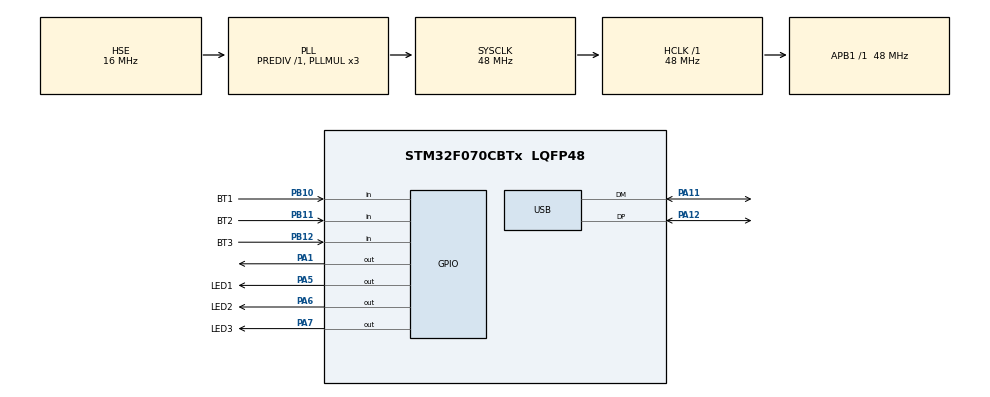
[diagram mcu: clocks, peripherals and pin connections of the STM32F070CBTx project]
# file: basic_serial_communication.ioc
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Mcu.Family=STM32F0
Mcu.Name=STM32F070CBTx
Mcu.Package=LQFP48
NVIC.USB_IRQn=true\:0\:0\:false\:false\:true\:false\:true\:true
PA1.Signal=GPIO_Output
PA11.Mode=Device
PA11.Signal=USB_DM
PA12.Mode=Device
PA12.Signal=USB_DP
PA13.Mode=Serial_Wire
PA13.Signal=SYS_SWDIO
PA14.Mode=Serial_Wire
PA14.Signal=SYS_SWCLK
PA5.GPIO_Label=LED1
PA5.Signal=GPIO_Output
PA6.GPIO_Label=LED2
PA6.Signal=GPIO_Output
PA7.GPIO_Label=LED3
PA7.Signal=GPIO_Output
PB10.GPIO_Label=BT1
PB10.Signal=GPIO_Input
PB11.GPIO_Label=BT2
PB11.Signal=GPIO_Input
PB12.GPIO_Label=BT3
PB12.Signal=GPIO_Input
PF0-OSC_IN.Mode=HSE-External-Oscillator
PF0-OSC_IN.Signal=RCC_OSC_IN
PF1-OSC_OUT.Mode=HSE-External-Oscillator
PF1-OSC_OUT.Signal=RCC_OSC_OUT
ProjectManager.HeapSize=0x200
ProjectManager.StackSize=0x400
ProjectManager.TargetToolchain=STM32CubeIDE
RCC.AHBFreq_Value=48000000
RCC.APB1Freq_Value=48000000
RCC.APB1TimFreq_Value=48000000
RCC.HCLKFreq_Value=48000000
RCC.HSE_VALUE=16000000
RCC.PLLMUL=RCC_PLL_MUL3
RCC.SYSCLKFreq_VALUE=48000000
RCC.SYSCLKSource=RCC_SYSCLKSOURCE_PLLCLK
USB_DEVICE.CLASS_NAME_FS=CDC
USB_DEVICE.VirtualMode=Cdc
USB_DEVICE.VirtualModeFS=Cdc_FS
VP_USB_DEVICE_VS_USB_DEVICE_CDC_FS.Mode=CDC_FS
board=custom

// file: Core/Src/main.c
/* USER CODE BEGIN Header */
/**
  ******************************************************************************
  * @file           : main.c
  * @brief          : Main program body
  ******************************************************************************
  * @attention
  *
  * Copyright (c) 2024 STMicroelectronics.
  * All rights reserved.
  *
  * This software is licensed under terms that can be found in the LICENSE file
  * in the root directory of this software component.
  * If no LICENSE file comes with this software, it is provided AS-IS.
  *
  ******************************************************************************
  */
/* USER CODE END Header */
#include "main.h"
#include "usb_device.h"

/* USER CODE BEGIN Includes */
#include "usbd_cdc_if.h" 	//Used for USB communication
#include "string.h" 		//Used for string formating
#include "ctype.h"			//Used to compare strings
/* USER CODE END Includes */

/* USER CODE BEGIN PV */
uint8_t usbBuf[64]; 			//Rx Buffer
char dataToSend[64]; 			//Tx Buffer
uint8_t dataLength; 			//length of Tx Buffer
char cmdIn[64]; 				//Reading command from Rx Buffer
char current_cmd[64];			//Store Current Command
int bt1, bt2, bt3; 				//Button status
/* USER CODE END PV */

void SystemClock_Config(void);
static void MX_GPIO_Init(void);
/* USER CODE BEGIN PFP */
void readCommand(void);			//Read usb buffer and check if it is a valid command
int checkButton(int button);	//Check button status, returns 1 if pressed, 0 if not pressed
/* USER CODE END PFP */

int main(void)
{

  /* MCU Configuration--------------------------------------------------------*/

  /* Reset of all peripherals, Initializes the Flash interface and the Systick. */
  HAL_Init();

  /* Configure the system clock */
  SystemClock_Config();

  /* Initialize all configured peripherals */
  MX_GPIO_Init();
  MX_USB_DEVICE_Init();
  /* USER CODE BEGIN 2 */
  memset(cmdIn, '\0', 64); 						// initialize buffers
  memset(current_cmd, '\0', 64);
  /* USER CODE END 2 */

  /* Infinite loop */
  /* USER CODE BEGIN WHILE */
  while (1)
  {
	  readCommand(); 							// read command from USB buffer and process
	  HAL_GPIO_TogglePin(GPIOA, GPIO_PIN_1); 	// Blink board LED
	  HAL_Delay(300);							// small delay
    /* USER CODE END WHILE */
  }
}

void SystemClock_Config(void)
{
  RCC_OscInitTypeDef RCC_OscInitStruct = {0};
  RCC_ClkInitTypeDef RCC_ClkInitStruct = {0};
  RCC_PeriphCLKInitTypeDef PeriphClkInit = {0};

  /** Initializes the RCC Oscillators according to the specified parameters
  * in the RCC_OscInitTypeDef structure.
  */
  RCC_OscInitStruct.OscillatorType = RCC_OSCILLATORTYPE_HSE;
  RCC_OscInitStruct.HSEState = RCC_HSE_ON;
  RCC_OscInitStruct.PLL.PLLState = RCC_PLL_ON;
  RCC_OscInitStruct.PLL.PLLSource = RCC_PLLSOURCE_HSE;
  RCC_OscInitStruct.PLL.PLLMUL = RCC_PLL_MUL3;
  RCC_OscInitStruct.PLL.PREDIV = RCC_PREDIV_DIV1;
  if (HAL_RCC_OscConfig(&RCC_OscInitStruct) != HAL_OK)
  {
    Error_Handler();
  }

  /** Initializes the CPU, AHB and APB buses clocks
  */
  RCC_ClkInitStruct.ClockType = RCC_CLOCKTYPE_HCLK|RCC_CLOCKTYPE_SYSCLK
                              |RCC_CLOCKTYPE_PCLK1;
  RCC_ClkInitStruct.SYSCLKSource = RCC_SYSCLKSOURCE_PLLCLK;
  RCC_ClkInitStruct.AHBCLKDivider = RCC_SYSCLK_DIV1;
  RCC_ClkInitStruct.APB1CLKDivider = RCC_HCLK_DIV1;

  if (HAL_RCC_ClockConfig(&RCC_ClkInitStruct, FLASH_LATENCY_1) != HAL_OK)
  {
    Error_Handler();
  }
  PeriphClkInit.PeriphClockSelection = RCC_PERIPHCLK_USB;
  PeriphClkInit.UsbClockSelection = RCC_USBCLKSOURCE_PLL;

  if (HAL_RCCEx_PeriphCLKConfig(&PeriphClkInit) != HAL_OK)
  {
    Error_Handler();
  }
}

static void MX_GPIO_Init(void)
{
  GPIO_InitTypeDef GPIO_InitStruct = {0};

  /* GPIO Ports Clock Enable */
  __HAL_RCC_GPIOF_CLK_ENABLE();
  __HAL_RCC_GPIOA_CLK_ENABLE();
  __HAL_RCC_GPIOB_CLK_ENABLE();

  /*Configure GPIO pin Output Level */
  HAL_GPIO_WritePin(GPIOA, GPIO_PIN_1|LED1_Pin|LED2_Pin|LED3_Pin, GPIO_PIN_RESET);

  /*Configure GPIO pins : PA1 LED1_Pin LED2_Pin LED3_Pin */
  GPIO_InitStruct.Pin = GPIO_PIN_1|LED1_Pin|LED2_Pin|LED3_Pin;
  GPIO_InitStruct.Mode = GPIO_MODE_OUTPUT_PP;
  GPIO_InitStruct.Pull = GPIO_NOPULL;
  GPIO_InitStruct.Speed = GPIO_SPEED_FREQ_LOW;
  HAL_GPIO_Init(GPIOA, &GPIO_InitStruct);

  /*Configure GPIO pins : BT1_Pin BT2_Pin BT3_Pin */
  GPIO_InitStruct.Pin = BT1_Pin|BT2_Pin|BT3_Pin;
  GPIO_InitStruct.Mode = GPIO_MODE_INPUT;
  GPIO_InitStruct.Pull = GPIO_NOPULL;
  HAL_GPIO_Init(GPIOB, &GPIO_InitStruct);

}

/* USER CODE BEGIN 4 */
void readCommand()
{

	char cmd_led1[] = "led1",														//Setting valid command arguments
		 cmd_led2[] = "led2",
		 cmd_led3[] = "led3",
		 cmd_all_leds[] = "all leds",
		 cmd_bt1[] = "button1",
		 cmd_bt2[] = "button2",
		 cmd_bt3[] = "button3",
		 cmd_all_buttons[] = "all buttons",
		 cmd_help[] = "help";

	if(cmdIn[0] != usbBuf[0])
	{

	for(int i = 0; i < 63; i++){ 													//Copies USB buffer to end of input and sets lower case
		cmdIn[i] = tolower(usbBuf[i]);
	}

	strcpy(current_cmd, cmdIn);														//Sets current command as new incoming command

	if(strcmp(current_cmd, cmd_led1) == 0)											//Check for valid command
	{
		HAL_GPIO_TogglePin(LED1_GPIO_Port, LED1_Pin);
		dataLength = snprintf(dataToSend, 64, "LED 1 toggled!\n");
		CDC_Transmit_FS((uint8_t *)dataToSend, dataLength);
		HAL_Delay(100);

	}else if(strcmp(current_cmd, cmd_led2) == 0)
	{
		HAL_GPIO_TogglePin(LED2_GPIO_Port, LED2_Pin);
		dataLength = snprintf(dataToSend, 64, "LED 2 toggled!\n");
		CDC_Transmit_FS((uint8_t *)dataToSend, dataLength);
		HAL_Delay(100);

	}else if(strcmp(current_cmd, cmd_led3) == 0)
	{
		HAL_GPIO_TogglePin(LED3_GPIO_Port, LED3_Pin);
		dataLength = snprintf(dataToSend, 64, "LED 3 toggled!\n");
		CDC_Transmit_FS((uint8_t *)dataToSend, dataLength);
		HAL_Delay(100);

	}else if(strcmp(current_cmd, cmd_all_leds) == 0)
	{
		HAL_GPIO_TogglePin(LED1_GPIO_Port, LED1_Pin);
		HAL_GPIO_TogglePin(LED2_GPIO_Port, LED2_Pin);
		HAL_GPIO_TogglePin(LED3_GPIO_Port, LED3_Pin);
		dataLength = snprintf(dataToSend, 64, "All leds toggled!\n");
		CDC_Transmit_FS((uint8_t *)dataToSend, dataLength);
		HAL_Delay(100);

	}else if(strcmp(current_cmd, cmd_bt1) == 0)
	{
		bt1 = checkButton(1);
		if(bt1 == 0)
		{
			dataLength = snprintf(dataToSend, 64, "Button 1 Status: Off\n");
		}else if(bt1 == 1)
		{
			dataLength = snprintf(dataToSend, 64, "Button 1 Status: On\n");
		}
		CDC_Transmit_FS((uint8_t *)dataToSend, dataLength);
		HAL_Delay(100);

	}else if(strcmp(current_cmd, cmd_bt2) == 0)
	{
		bt2 = checkButton(2);
		if(bt2 == 0)
		{
			dataLength = snprintf(dataToSend, 64, "Button 2 Status: Off\n");
		}else if(bt2 == 1)
		{
			dataLength = snprintf(dataToSend, 64, "Button 2 Status: On\n");
		}
		CDC_Transmit_FS((uint8_t *)dataToSend, dataLength);
		HAL_Delay(100);

	}else if(strcmp(current_cmd, cmd_bt3)== 0)
	{
		bt3 = checkButton(3);
		if(bt3 == 0)
		{
			dataLength = snprintf(dataToSend, 64, "Button 3 Status: Off\n");
		}else if(bt3 == 1)
		{
			dataLength = snprintf(dataToSend, 64, "Button 3 Status: On\n");
		}
		CDC_Transmit_FS((uint8_t *)dataToSend, dataLength);
		HAL_Delay(100);

	}else if(strcmp(current_cmd, cmd_all_buttons) == 0)
	{
		bt1 = checkButton(1);
		if(bt1 == 0)
		{
			dataLength = snprintf(dataToSend, 64, "Button 1 Status: Off\n");
		}else if(bt1 == 1)
		{
			dataLength = snprintf(dataToSend, 64, "Button 1 Status: On\n");
		}
		CDC_Transmit_FS((uint8_t *)dataToSend, dataLength);
		HAL_Delay(100);

		bt2 = checkButton(2);
		if(bt2 == 0)
		{
			dataLength = snprintf(dataToSend, 64, "Button 2 Status: Off\n");
		}else if(bt2 == 1)
		{
			dataLength = snprintf(dataToSend, 64, "Button 2 Status: On\n");
		}
		CDC_Transmit_FS((uint8_t *)dataToSend, dataLength);
		HAL_Delay(100);

		bt3 = checkButton(3);
		if(bt3 == 0)
		{
			dataLength = snprintf(dataToSend, 64, "Button 3 Status: Off\n");
		}else if(bt3 == 1)
		{
			dataLength = snprintf(dataToSend, 64, "Button 3 Status: On\n");
		}
		CDC_Transmit_FS((uint8_t *)dataToSend, dataLength);
		HAL_Delay(100);
	}else if(strcmp(current_cmd, cmd_help) == 0)
	{
		dataLength = snprintf(dataToSend, 64, "Available Commands:\n");
		CDC_Transmit_FS((uint8_t *)dataToSend, dataLength);
		HAL_Delay(100);
		dataLength = snprintf(dataToSend, 64, "led1, led2, led3\n");
		CDC_Transmit_FS((uint8_t *)dataToSend, dataLength);
		HAL_Delay(100);
		dataLength = snprintf(dataToSend, 64, "button1, button2, button3\n");
		CDC_Transmit_FS((uint8_t *)dataToSend, dataLength);
		HAL_Delay(100);
		dataLength = snprintf(dataToSend, 64, "all leds, all buttons\n");
		CDC_Transmit_FS((uint8_t *)dataToSend, dataLength);
		HAL_Delay(100);
	}else
	{
		dataLength = snprintf(dataToSend, 64, "Invalid Command! Type \'help\'\n");
		CDC_Transmit_FS((uint8_t *)dataToSend, dataLength);
		HAL_Delay(100);
	}
	memset(cmdIn, '\0', 64);														//Clear Incoming Command
	memset(usbBuf, '\0', 64);														//Clear USB Rx Buffer
	memset(current_cmd, '\0', 64);													//Clear Current command
	}

}

int checkButton(int button) 														//Returns button status if a valid choice is requested, otherwise returns 255 as error val
{
	switch(button)
	{
	case 1:
		return !HAL_GPIO_ReadPin(BT1_GPIO_Port, BT1_Pin);
	case 2:
		return !HAL_GPIO_ReadPin(BT2_GPIO_Port, BT2_Pin);
	case 3:
		return !HAL_GPIO_ReadPin(BT3_GPIO_Port, BT3_Pin);
	default:
		return 255;
	}
}
/* USER CODE END 4 */

void Error_Handler(void)
{
  __disable_irq();
  while (1)
  {
  }
}
